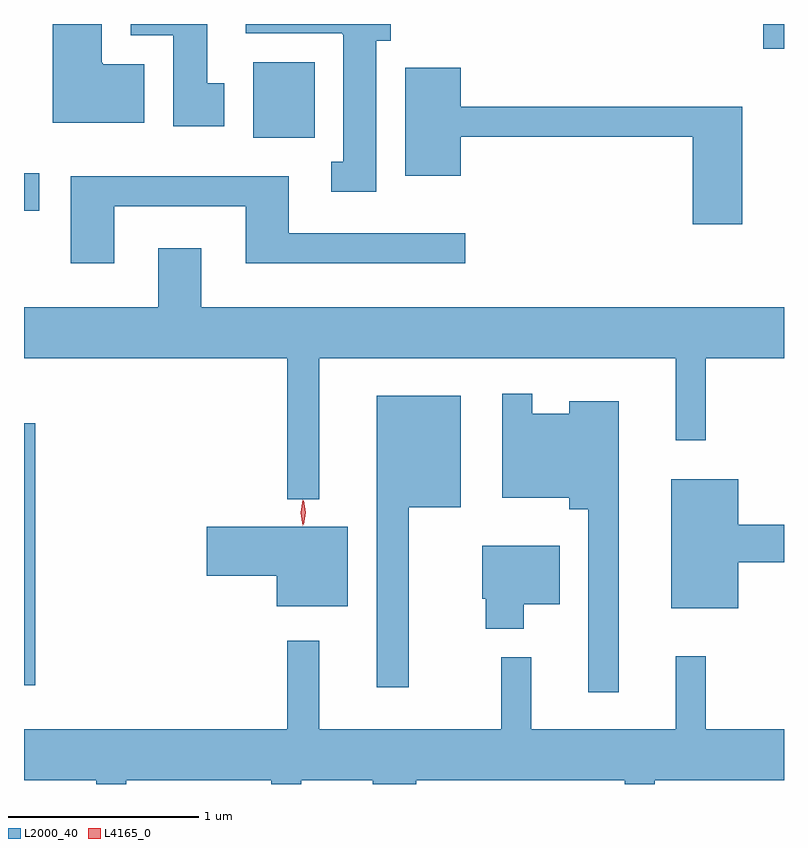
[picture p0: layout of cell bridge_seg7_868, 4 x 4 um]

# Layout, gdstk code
import gdstk
lib = gdstk.Library(unit=1e-6, precision=1e-09)
def R(c, l, rs):  # rectangles x0, y0, x1, y1
    for r in rs: c.add(gdstk.rectangle(r[:2], r[2:], *l))
def P(c, l, *ps):  # polygons
    for p in ps: c.add(gdstk.Polygon(p, *l))
L2000_40 = (2000, 40)
L4165_0 = (4165, 0)

bridge_seg7_868 = lib.new_cell('bridge_seg7_868')
R(bridge_seg7_868, L2000_40, [(203.975,1699.276,204.034,1700.654), (203.975,1701.771,204.054,1701.969), (205.181,1702.156,205.504,1702.554), (207.866,1702.626,207.975,1702.755)])
P(bridge_seg7_868, L2000_40, [(205.829,1702.666),(205.904,1702.666),(205.904,1702.755),(205.141,1702.755),(205.141,1702.706),(205.65,1702.706),(205.65,1702.7),(205.656,1702.7),(205.656,1702.029),(205.593,1702.029),(205.593,1701.871),(205.829,1701.871)],
  [(205.029,1702.444),(204.939,1702.444),(204.939,1702.755),(204.536,1702.755),(204.536,1702.696),(204.761,1702.696),(204.761,1702.216),(205.029,1702.216)],
  [(204.609,1702.544),(204.39,1702.544),(204.39,1702.55),(204.384,1702.55),(204.384,1702.755),(204.126,1702.755),(204.126,1702.236),(204.609,1702.236)],
  [(207.754,1702.319),(206.274,1702.319),(206.274,1702.524),(205.981,1702.524),(205.981,1701.956),(206.274,1701.956),(206.274,1702.161),(207.496,1702.161),(207.496,1701.701),(207.754,1701.701)],
  [(204.449,1701.796),(205.141,1701.796),(205.141,1701.496),(206.298,1701.496),(206.298,1701.654),(205.369,1701.654),(205.369,1701.954),(204.221,1701.954),(204.221,1701.496),(204.449,1701.496)],
  [(205.529,1700.996),(207.406,1700.996),(207.406,1700.563),(207.564,1700.563),(207.564,1700.996),(207.975,1700.996),(207.975,1701.264),(204.909,1701.264),(204.909,1701.574),(204.681,1701.574),(204.681,1701.264),(203.975,1701.264),(203.975,1700.996),(205.361,1700.996),(205.361,1700.253),(205.529,1700.253)],
  [(207.104,1700.769),(206.846,1700.769),(206.846,1700.704),(206.649,1700.704),(206.649,1700.808),(206.491,1700.808),(206.491,1700.261),(206.846,1700.261),(206.846,1700.201),(206.946,1700.201),(206.946,1699.238),(207.104,1699.238)],
  [(205.999,1700.211),(206.274,1700.211),(206.274,1700.799),(205.831,1700.799),(205.831,1699.263),(205.999,1699.263)],
  [(207.734,1699.921),(207.975,1699.921),(207.975,1700.119),(207.734,1700.119),(207.734,1700.359),(207.381,1700.359),(207.381,1699.681),(207.734,1699.681)],
  [(205.679,1700.109),(204.936,1700.109),(204.936,1699.851),(205.306,1699.851),(205.306,1699.691),(205.679,1699.691)],
  [(206.604,1699.701),(206.794,1699.701),(206.794,1700.009),(206.386,1700.009),(206.386,1699.731),(206.406,1699.731),(206.406,1699.571),(206.604,1699.571)],
  [(204.514,1698.776),(205.276,1698.776),(205.276,1698.755),(205.434,1698.755),(205.434,1698.776),(205.811,1698.776),(205.811,1698.755),(206.039,1698.755),(206.039,1698.776),(207.136,1698.776),(207.136,1698.755),(207.294,1698.755),(207.294,1698.776),(207.975,1698.776),(207.975,1699.044),(207.564,1699.044),(207.564,1699.428),(207.406,1699.428),(207.406,1699.044),(206.644,1699.044),(206.644,1699.423),(206.486,1699.423),(206.486,1699.044),(205.529,1699.044),(205.529,1699.508),(205.361,1699.508),(205.361,1699.044),(203.975,1699.044),(203.975,1698.776),(204.356,1698.776),(204.356,1698.755),(204.514,1698.755)])
P(bridge_seg7_868, L4165_0, [(205.447,1700.12),(205.447,1700.12),(205.437,1700.184),(205.446,1700.246),(205.447,1700.247),(205.447,1700.246),(205.457,1700.184),(205.448,1700.12)],
  [(205.441,1700.114),(205.432,1700.182),(205.441,1700.25),(205.442,1700.25),(205.442,1700.25),(205.452,1700.182),(205.442,1700.114),(205.442,1700.114)])

lib.write_gds('bridge_seg7_868.gds')
